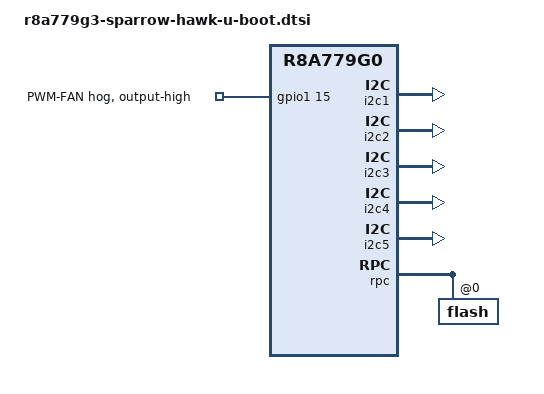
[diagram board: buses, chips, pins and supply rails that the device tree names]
// SPDX-License-Identifier: GPL-2.0
/*
 * Device Tree Source extras for U-Boot for the R-Car V4H Sparrow Hawk board
 *
 * Copyright (C) 2025 Marek Vasut <marek.vasut+renesas@mailbox.org>
 */

#include "r8a779g0-u-boot.dtsi"

/* Page 31 / FAN */
&gpio1 {
	pwm-fan-hog {
		gpio-hog;
		gpios = <15 GPIO_ACTIVE_HIGH>;
		output-high;
		line-name = "PWM-FAN";
	};
};

/* Page 29 / CSI_IF_CN / CAM_CN0 */
&i2c1 {
	status = "okay";
};

/* Page 29 / CSI_IF_CN / CAM_CN1 */
&i2c2 {
	status = "okay";
};

/* Page 31 / IO_CN */
&i2c3 {
	status = "okay";
};

/* Page 31 / IO_CN */
&i2c4 {
	status = "okay";
};

/* Page 18 / POWER_CORE and Page 19 / POWER_PMIC */
&i2c5 {
	status = "okay";
};

&rpc {
	flash@0 {
		spi-tx-bus-width = <1>;
		spi-rx-bus-width = <1>;
	};
};
